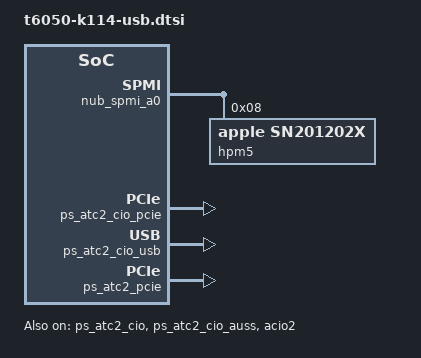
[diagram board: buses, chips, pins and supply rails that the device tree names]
// SPDX-License-Identifier: GPL-2.0+ OR MIT
/*
 * The 14-inch K boards' ports beyond t6050-k114-k116-usb.dtsi: the MagSafe 3 PD controller
 * on nub-spmi-a0 and ATC2's USB4/Thunderbolt router with its PCIe tunnel. The live K114s ADT
 * (27.2) and the K114c's have the same nodes and values here, phandles aside.
 *
 * Included after t6050-k114-k116-usb.dtsi. t6050-max.dtsi describes the ATC2 router for the
 * boards that define T6050_K114C or T6050_K114S before including it.
 */

/*
 * nub-spmi-a0's generation 4 fault queue: ADT reg[1] 0x8a184000 + 0x4000, which macOS empties
 * when the controller starts.
 */
&nub_spmi_a0 {
	reg = <0x2 0x8a188000 0x0 0x4000>,
	      <0x2 0x8a184000 0x0 0x4000>;

	/*
	 * The MagSafe 3 port's PD controller (ADT hpm5, port-type 0x11). It has no USB data
	 * path, so it gets no connector node; tipd registers a Type-C port and a power supply
	 * for it. Its ADT features-supported is <3>, "Power In" only: no liquid detection.
	 */
	hpm5: usb-pd@8 {
		compatible = "apple,sn201202x";
		reg = <0x8 SPMI_USID>;
		apple,no-liquid-detection;
	};
};

/*
 * The right port's USB4/Thunderbolt router (acio2) and PCIe tunnel; the DisplayPort route
 * is not described.
 */
#include "t6050-max-atc2-router.dtsi"

/*
 * The host DROM from the ADT (/arm-io/acio2 thunderbolt-drom, the same on the K114c and the
 * K114s); the boot loader replaces it
 */
&acio2_nhi {
	apple,thunderbolt-drom = [fd 02 00 00 00 00 00 00 00 90 19 c3 8c 00 5c 00
			00 00 00 00 00 00 08 81 82 02 82 00 00 00 08 82
			92 01 82 00 00 00 03 83 20 08 84 00 00 00 00 00
			00 08 85 00 00 00 00 00 00 05 86 09 01 00 08 87
			00 00 00 00 00 00 05 88 09 01 00 05 89 09 01 00
			05 8a 09 01 00 0e 01 41 70 70 6c 65 2c 20 49 6e
			63 2e 00 06 02 69 4f 53 00 00 00 00];
};

/* The right router's suppliers, disabled in the inventory (as t6050-j714s-display.dtsi enables them) */
&ps_atc2_cio {
	status = "okay";
};

&ps_atc2_cio_pcie {
	status = "okay";
};

&ps_atc2_cio_usb {
	status = "okay";
};

&ps_atc2_cio_auss {
	status = "okay";
};

&ps_atc2_pcie {
	status = "okay";
};

/*
 * The router and its mailbox are on, with all five domains and the PCIe tunnel, whether or not
 * t6050-max.dtsi leaves acio2 disabled and without the fifth domain for boards outside its list.
 */
&acio2_mbox {
	status = "okay";
};

&acio2 {
	status = "okay";
	power-domains = <&ps_atc2_cio>, <&ps_atc2_cio_pcie>,
			<&ps_atc2_cio_usb>, <&ps_atc2_cio_auss>, <&ps_atc2_pcie>;
	apple,pcie-tunnel = <&acio2_pcie_tunnel>;
};
